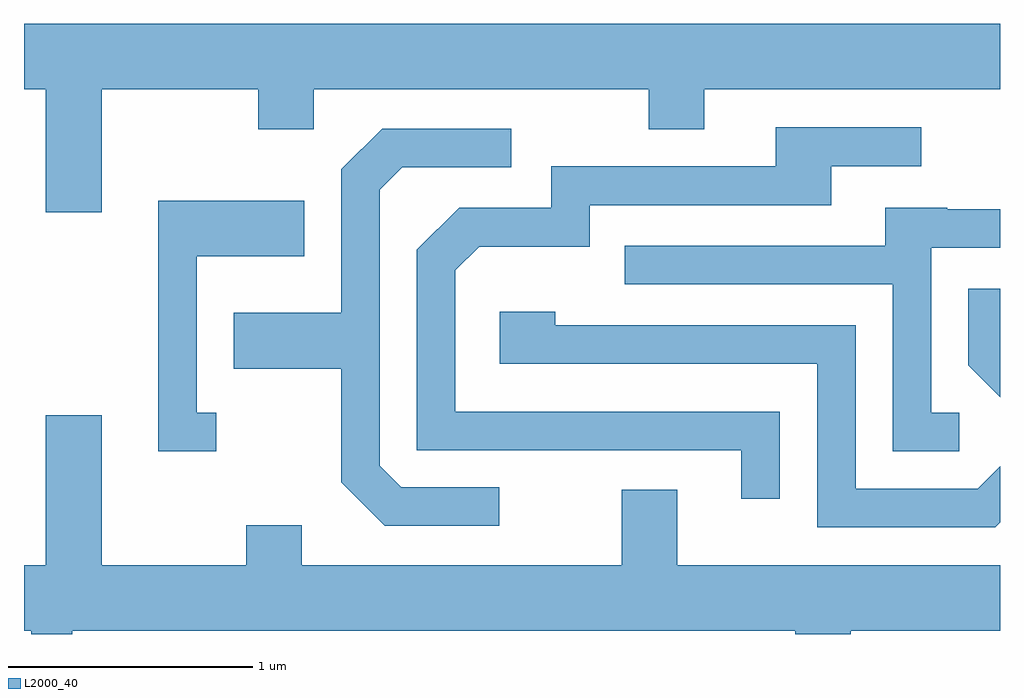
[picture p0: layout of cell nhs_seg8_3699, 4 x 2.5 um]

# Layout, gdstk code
import gdstk
lib = gdstk.Library(unit=1e-6, precision=1e-09)
def P(c, l, *ps):  # polygons
    for p in ps: c.add(gdstk.Polygon(p, *l))
L2000_40 = (2000, 40)

nhs_seg8_3699 = lib.new_cell('nhs_seg8_3699')
P(nhs_seg8_3699, L2000_40, [(295.929,1898.576),(296.571,1898.576),(296.571,1898.411),(296.799,1898.411),(296.799,1898.576),(298.171,1898.576),(298.171,1898.411),(298.399,1898.411),(298.399,1898.576),(299.611,1898.576),(299.611,1898.844),(295.611,1898.844),(295.611,1898.576),(295.701,1898.576),(295.701,1898.071),(295.929,1898.071)],
  [(298.709,1897.254),(297.379,1897.254),(297.379,1897.834),(297.477,1897.931),(297.929,1897.931),(297.929,1898.101),(298.919,1898.101),(298.919,1898.261),(299.288,1898.261),(299.288,1898.419),(298.691,1898.419),(298.691,1898.259),(297.771,1898.259),(297.771,1898.089),(297.394,1898.089),(297.221,1897.917),(297.221,1897.096),(298.551,1897.096),(298.551,1896.898),(298.709,1896.898)],
  [(297.558,1896.944),(297.157,1896.944),(297.069,1897.032),(297.069,1898.164),(297.162,1898.256),(297.608,1898.256),(297.608,1898.414),(297.079,1898.414),(296.911,1898.247),(296.911,1897.659),(296.471,1897.659),(296.471,1897.431),(296.911,1897.431),(296.911,1896.964),(297.089,1896.786),(297.558,1896.786)],
  [(296.398,1897.249),(296.319,1897.249),(296.319,1897.891),(296.759,1897.891),(296.759,1898.119),(296.161,1898.119),(296.161,1897.091),(296.398,1897.091)],
  [(299.443,1897.249),(299.329,1897.249),(299.329,1897.926),(299.611,1897.926),(299.611,1898.084),(299.395,1898.084),(299.395,1898.089),(299.141,1898.089),(299.141,1897.934),(298.073,1897.934),(298.073,1897.776),(299.171,1897.776),(299.171,1897.091),(299.443,1897.091)],
  [(299.611,1897.758),(299.481,1897.758),(299.481,1897.444),(299.611,1897.314)],
  [(299.611,1896.8),(299.611,1897.031),(299.519,1896.939),(299.019,1896.939),(299.019,1897.609),(297.789,1897.609),(297.789,1897.664),(297.561,1897.664),(297.561,1897.451),(298.861,1897.451),(298.861,1896.781),(299.592,1896.781)],
  [(295.809,1896.356),(298.771,1896.356),(298.771,1896.342),(298.999,1896.342),(298.999,1896.356),(299.611,1896.356),(299.611,1896.624),(298.289,1896.624),(298.289,1896.934),(298.061,1896.934),(298.061,1896.624),(296.749,1896.624),(296.749,1896.789),(296.521,1896.789),(296.521,1896.624),(295.929,1896.624),(295.929,1897.239),(295.701,1897.239),(295.701,1896.624),(295.611,1896.624),(295.611,1896.356),(295.641,1896.356),(295.641,1896.342),(295.809,1896.342)])

lib.write_gds('nhs_seg8_3699.gds')
